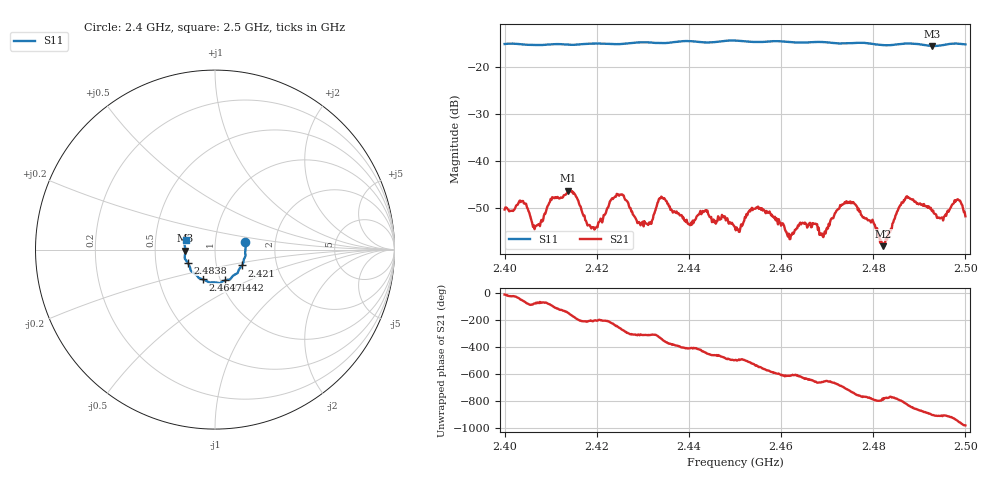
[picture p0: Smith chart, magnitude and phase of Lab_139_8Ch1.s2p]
# Hz S RI R 50
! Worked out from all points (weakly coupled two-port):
!   601 points, 2.4 GHz to 2.5 GHz, reference 50 ohm
!   highest |S21| = -46.37 dB at 2.4138 GHz (marker M1); lowest = -58.1 dB at 2.4822 GHz (marker M2)
!   lowest |S11| = -15.6 dB at 2.4928 GHz (marker M3), VSWR 1.40, Z = 35.8 - j0.384 ohm
!   |S11| at or under -10 dB: start of sweep to end of sweep
!   S12 and S22 are empty: the file has one direction only
!   S11 on the Smith chart (normalised r, x): 2.4 GHz: 1.40, +0.12; 2.421 GHz: 1.33, -0.24; 2.4442 GHz: 1.05, -0.37; 2.4647 GHz: 0.83, -0.29; 2.4838 GHz: 0.73, -0.11; 2.5 GHz: 0.72, +0.08
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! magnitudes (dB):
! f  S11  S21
! 2.4 GHz  -15.2  -50.4
! 2.4042 GHz  -15.3  -49.0
! 2.4067 GHz  -15.4  -54.0
! 2.4138 GHz  -15.4  -46.4
! 2.4167 GHz  -15.3  -50.4
! 2.421 GHz  -15.1  -52.4
! 2.4248 GHz  -15.2  -47.4
! 2.4297 GHz  -14.9  -53.2
! 2.4333 GHz  -15.0  -48.7
! 2.4442 GHz  -14.9  -51.3
! 2.45 GHz  -14.5  -54.2
! 2.455 GHz  -14.8  -49.7
! 2.4618 GHz  -14.8  -56.6
! 2.4647 GHz  -14.9  -53.2
! 2.4667 GHz  -14.8  -54.1
! 2.4755 GHz  -15.0  -49.0
! 2.4822 GHz  -15.5  -58.1
! 2.4833 GHz  -15.5  -55.2
! 2.4838 GHz  -15.5  -54.4
! 2.4872 GHz  -15.1  -47.6
! 2.4928 GHz  -15.6  -50.7
! 2.5 GHz  -15.3  -51.8
